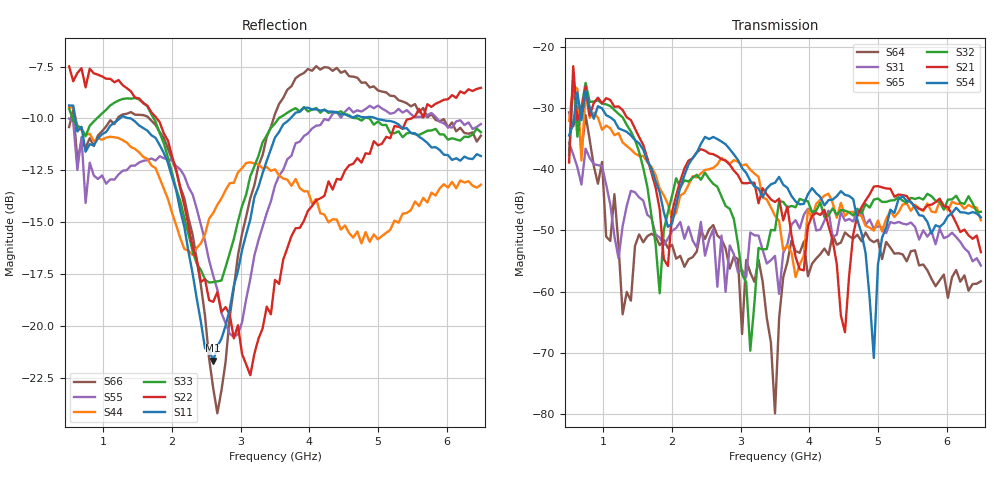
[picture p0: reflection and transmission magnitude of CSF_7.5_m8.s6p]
!Keysight Technologies,M9804A,MY58100912,A.14.10.03
!Date: Thursday, April 27, 2023 10:28:33
!Correction: S11(C  6-Port  )
!S12(C  6-Port  )
!S13(C  6-Port  )
!S14(C  6-Port  )
!S15(C  6-Port  )
!S16(C  6-Port  )
!S21(C  6-Port  )
!S22(C  6-Port  )
!S23(C  6-Port  )
!S24(C  6-Port  )
!S25(C  6-Port  )
!S26(C  6-Port  )
!S31(C  6-Port  )
!S32(C  6-Port  )
!S33(C  6-Port  )
!S34(C  6-Port  )
!S35(C  6-Port  )
!S36(C  6-Port  )
!S41(C  6-Port  )
!S42(C  6-Port  )
!S43(C  6-Port  )
!S44(C  6-Port  )
!S45(C  6-Port  )
!S46(C  6-Port  )
!S51(C  6-Port  )
!S52(C  6-Port  )
!S53(C  6-Port  )
!S54(C  6-Port  )
!S55(C  6-Port  )
!S56(C  6-Port  )
!S61(C  6-Port  )
!S62(C  6-Port  )
!S63(C  6-Port  )
!S64(C  6-Port  )
!S65(C  6-Port  )
!S66(C  6-Port  )
!S6P File: Measurement: :
# Hz S  RI  R 50
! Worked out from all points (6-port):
!   101 points, 500 MHz to 6.5 GHz, reference 50 ohm
!   strongest paths, dB at 500 MHz, 2 GHz, 3.5 GHz, 5 GHz, 6.5 GHz:
!     S54: -34.5, -48.9, -42.2, -55.6, -47.9
!     S21: -38.9, -47.0, -45.4, -42.8, -53.6
!     S32: -37.6, -44.3, -50.0, -44.8, -47.0
!     S65: -32.1, -48.2, -47.6, -48.4, -48.3
!     S31: -35.7, -50.1, -54.2, -49.3, -55.7
!     S64: -30.7, -52.4, -79.9, -51.5, -58.3
!   lowest |S11| = -21.7 dB at 2.6 GHz (marker M1), VSWR 1.18, Z = 42.6 + j2.07 ohm
!   |S11| at or under -10 dB: 589.9 MHz to 1.238 GHz (648.4 MHz wide, 70.9 % of centre); 1.4 GHz to 3.723 GHz (2.323 GHz wide, 90.7 % of centre); 4.974 GHz to end of sweep
